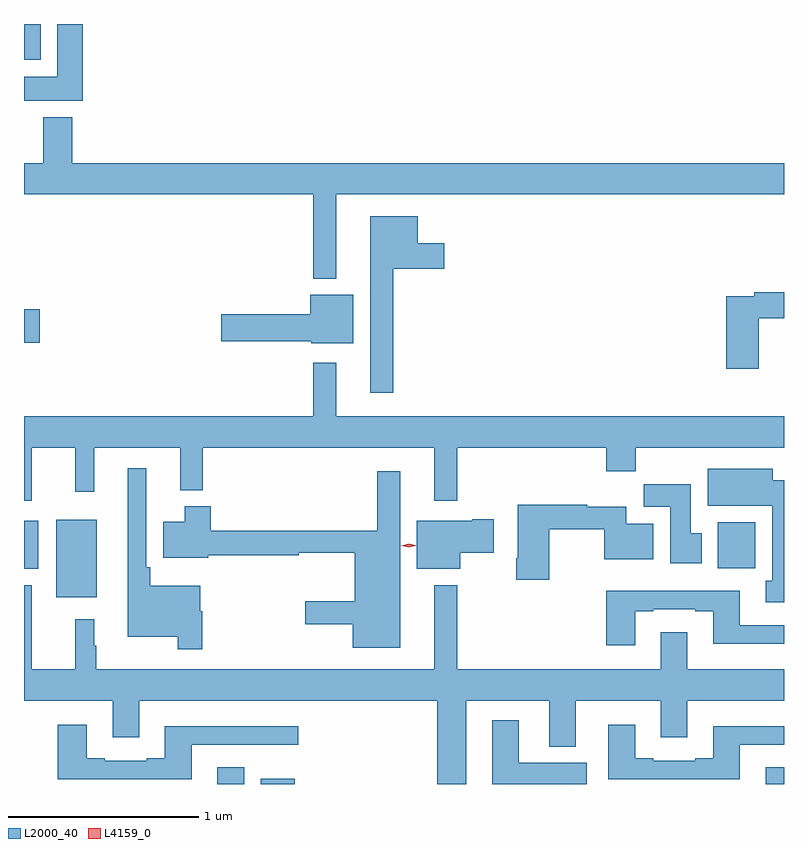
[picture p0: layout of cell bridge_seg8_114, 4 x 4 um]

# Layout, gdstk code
import gdstk
lib = gdstk.Library(unit=1e-6, precision=1e-09)
def R(c, l, rs):  # rectangles x0, y0, x1, y1
    for r in rs: c.add(gdstk.rectangle(r[:2], r[2:], *l))
def P(c, l, *ps):  # polygons
    for p in ps: c.add(gdstk.Polygon(p, *l))
L2000_40 = (2000, 40)
L4159_0 = (4159, 0)

bridge_seg8_114 = lib.new_cell('bridge_seg8_114')
R(bridge_seg8_114, L2000_40, [(673.475,1145.365,673.615,1145.452), (673.703,1145.365,673.882,1145.392), (676.361,1145.365,676.457,1145.452), (672.626,1146.347,672.841,1146.757), (672.457,1146.497,672.532,1146.751), (676.109,1146.5,676.306,1146.742), (672.457,1147.687,672.541,1147.865), (672.457,1149.176,672.544,1149.365)])
P(bridge_seg8_114, L2000_40, [(672.767,1149.365),(672.632,1149.365),(672.632,1149.088),(672.457,1149.088),(672.457,1148.96),(672.767,1148.96)],
  [(674.101,1148.468),(676.457,1148.468),(676.457,1148.632),(672.71,1148.632),(672.71,1148.875),(672.557,1148.875),(672.557,1148.632),(672.457,1148.632),(672.457,1148.468),(673.98,1148.468),(673.98,1148.024),(674.101,1148.024)],
  [(674.401,1148.078),(674.668,1148.078),(674.668,1148.212),(674.53,1148.212),(674.53,1148.353),(674.279,1148.353),(674.279,1147.425),(674.401,1147.425)],
  [(676.324,1147.816),(676.457,1147.816),(676.457,1147.952),(676.3,1147.952),(676.3,1147.932),(676.154,1147.932),(676.154,1147.551),(676.324,1147.551)],
  [(674.191,1147.939),(673.964,1147.939),(673.964,1147.838),(673.494,1147.838),(673.494,1147.696),(673.968,1147.696),(673.968,1147.685),(674.191,1147.685)],
  [(672.499,1147.136),(672.727,1147.136),(672.727,1146.903),(672.827,1146.903),(672.827,1147.136),(673.28,1147.136),(673.28,1146.911),(673.397,1146.911),(673.397,1147.136),(674.615,1147.136),(674.615,1146.855),(674.737,1146.855),(674.737,1147.136),(675.521,1147.136),(675.521,1147.012),(675.677,1147.012),(675.677,1147.136),(676.457,1147.136),(676.457,1147.3),(674.101,1147.3),(674.101,1147.582),(673.98,1147.582),(673.98,1147.3),(672.457,1147.3),(672.457,1146.855),(672.499,1146.855)],
  [(673.394,1146.273),(673.384,1146.273),(673.384,1146.409),(673.121,1146.409),(673.121,1146.505),(673.101,1146.505),(673.101,1147.027),(673.004,1147.027),(673.004,1146.14),(673.266,1146.14),(673.266,1146.075),(673.394,1146.075)],
  [(676.457,1146.964),(676.399,1146.964),(676.399,1147.024),(676.055,1147.024),(676.055,1146.83),(676.394,1146.83),(676.394,1146.434),(676.361,1146.434),(676.361,1146.321),(676.457,1146.321)],
  [(674.437,1147.012),(674.316,1147.012),(674.316,1146.697),(673.439,1146.697),(673.439,1146.826),(673.304,1146.826),(673.304,1146.745),(673.19,1146.745),(673.19,1146.557),(673.426,1146.557),(673.426,1146.568),(673.902,1146.568),(673.902,1146.583),(674.198,1146.583),(674.198,1146.328),(673.938,1146.328),(673.938,1146.206),(674.186,1146.206),(674.186,1146.083),(674.437,1146.083)],
  [(676.024,1146.684),(675.967,1146.684),(675.967,1146.942),(675.718,1146.942),(675.718,1146.824),(675.857,1146.824),(675.857,1146.528),(676.024,1146.528)],
  [(675.222,1146.706),(675.511,1146.706),(675.511,1146.548),(675.769,1146.548),(675.769,1146.736),(675.628,1146.736),(675.628,1146.824),(675.422,1146.824),(675.422,1146.835),(675.056,1146.835),(675.056,1146.553),(675.049,1146.553),(675.049,1146.441),(675.222,1146.441)],
  [(674.752,1146.581),(674.929,1146.581),(674.929,1146.759),(674.816,1146.759),(674.816,1146.751),(674.525,1146.751),(674.525,1146.497),(674.752,1146.497)],
  [(672.838,1146.092),(672.826,1146.092),(672.826,1146.232),(672.727,1146.232),(672.727,1145.968),(672.499,1145.968),(672.499,1146.412),(672.457,1146.412),(672.457,1145.804),(672.923,1145.804),(672.923,1145.61),(673.063,1145.61),(673.063,1145.804),(674.633,1145.804),(674.633,1145.365),(674.785,1145.365),(674.785,1145.804),(675.221,1145.804),(675.221,1145.561),(675.361,1145.561),(675.361,1145.804),(675.809,1145.804),(675.809,1145.61),(675.949,1145.61),(675.949,1145.804),(676.457,1145.804),(676.457,1145.968),(675.949,1145.968),(675.949,1146.163),(675.809,1146.163),(675.809,1145.968),(674.737,1145.968),(674.737,1146.412),(674.615,1146.412),(674.615,1145.968),(672.838,1145.968)],
  [(675.673,1146.273),(675.769,1146.273),(675.769,1146.285),(675.989,1146.285),(675.989,1146.273),(676.085,1146.273),(676.085,1146.104),(676.457,1146.104),(676.457,1146.201),(676.225,1146.201),(676.225,1146.382),(675.521,1146.382),(675.521,1146.096),(675.673,1146.096)],
  [(675.418,1145.476),(675.061,1145.476),(675.061,1145.701),(674.921,1145.701),(674.921,1145.365),(675.418,1145.365)],
  [(676.225,1145.571),(676.457,1145.571),(676.457,1145.668),(676.085,1145.668),(676.085,1145.5),(675.989,1145.5),(675.989,1145.487),(675.769,1145.487),(675.769,1145.5),(675.673,1145.5),(675.673,1145.677),(675.533,1145.677),(675.533,1145.39),(676.225,1145.39)],
  [(673.339,1145.571),(673.9,1145.571),(673.9,1145.668),(673.199,1145.668),(673.199,1145.5),(673.103,1145.5),(673.103,1145.487),(672.883,1145.487),(672.883,1145.5),(672.787,1145.5),(672.787,1145.677),(672.635,1145.677),(672.635,1145.39),(673.339,1145.39)])
P(bridge_seg8_114, L4159_0, [(674.481,1146.61),(674.443,1146.619),(674.443,1146.619),(674.443,1146.619),(674.481,1146.63),(674.519,1146.621),(674.519,1146.62),(674.519,1146.62)])

lib.write_gds('bridge_seg8_114.gds')
